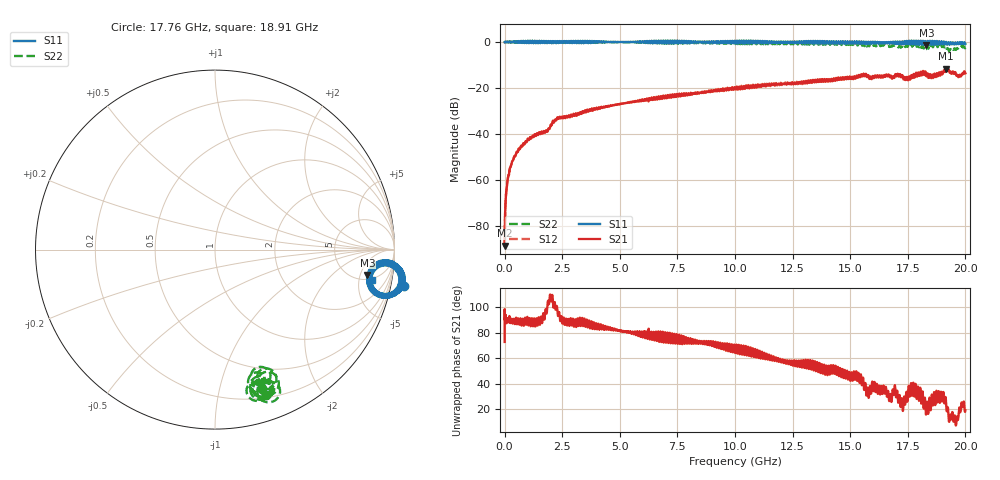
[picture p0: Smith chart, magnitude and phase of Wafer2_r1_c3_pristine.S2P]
!  2-Port S-parameters saved by WinCal
! VAR MeasName=S-Parameters (CALIBRATED_DATA) read from VNA (P5004A)
! VAR MeasDate=24/04/2024 15:19:17
! VAR NAME=Wafer2_r1_c3_pristine
! VAR FILENAME=Wafer2_r1_c3_pristine.S2P
! VAR DATE=24/04/2024 15:19:17
! VAR PHYS_PORTS=1,2
! VAR ObjTypeName=DATASET
! VAR IndexType=Frequency
# Hz S MA R 50
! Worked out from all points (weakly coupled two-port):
!   4999 points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, 4.01 MHz to 20 GHz, reference 50 ohm
!   highest |S21| = -11.67 dB at 19.17 GHz (marker M1); lowest = -88.6 dB at 4.01 MHz (marker M2)
!   lowest |S11| = -1.3 dB at 18.31 GHz (marker M3), VSWR 13.42, Z = 301 - j332 ohm
!   |S11| at or under -10 dB: nowhere
!   |S22| runs from -4.0 to 0.5 dB; largest |S21 - S12| = 0.029
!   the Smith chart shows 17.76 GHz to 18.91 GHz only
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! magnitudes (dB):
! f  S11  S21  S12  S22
! 4.01 MHz  -0.1  -88.6  -88.8  -0.1
! 128 MHz  0.1  -60.4  -60.4  0.1
! 212.1 MHz  0.1  -56.4  -55.9  0.1
! 364.1 MHz  -0.2  -51.5  -51.6  -0.2
! 632.1 MHz  0.2  -46.4  -46.4  0.2
! 1.148 GHz  -0.4  -42.0  -41.9  -0.4
! 1.848 GHz  -0.4  -39.1  -39.0  -0.5
! 2.288 GHz  0.3  -33.0  -32.9  0.3
! 3.341 GHz  -0.4  -31.2  -31.2  -0.5
! 6.673 GHz  0.3  -24.1  -23.9  0.3
! 10 GHz  0.3  -19.9  -20.2  -0.4
! 13.33 GHz  -0.6  -17.6  -17.6  -1.1
! 15.61 GHz  -0.4  -14.5  -14.8  -1.7
! 15.91 GHz  -0.3  -15.7  -15.9  -1.4
! 16.67 GHz  0.0  -14.1  -14.7  -1.8
! 17.11 GHz  -0.9  -15.0  -14.5  -2.2
! 17.44 GHz  -0.2  -15.9  -15.4  -1.3
! 18.31 GHz  -1.3  -14.9  -14.2  -2.7
! 18.58 GHz  0.2  -14.4  -15.3  -2.0
! 19.17 GHz  0.0  -11.7  -12.3  -2.6
! 19.71 GHz  -0.9  -15.2  -14.9  -2.5
! 20 GHz  -0.9  -13.6  -13.5  -2.5
